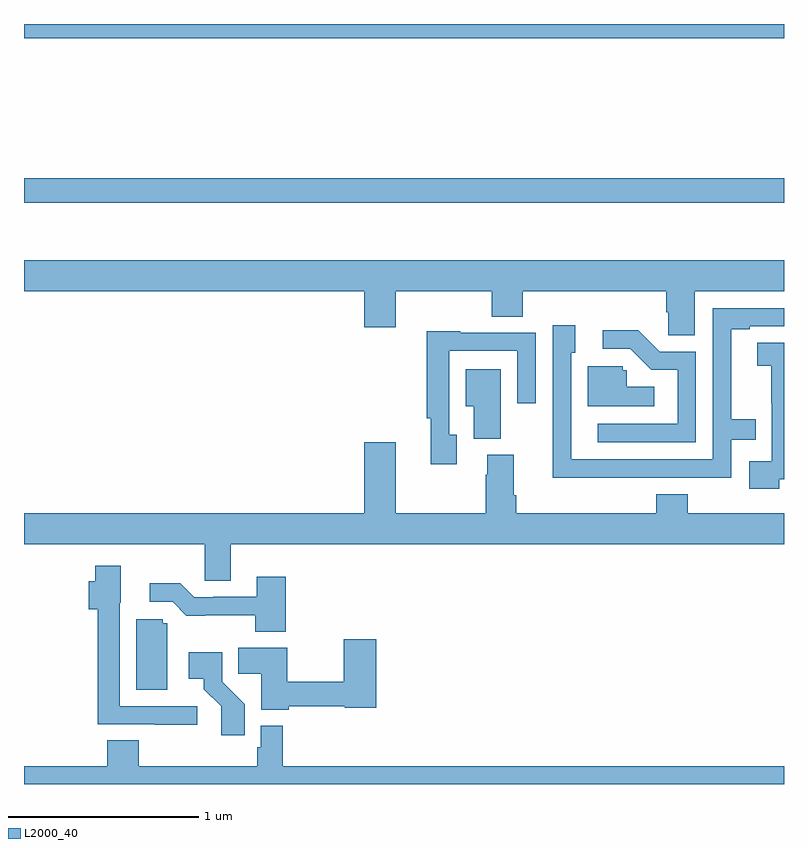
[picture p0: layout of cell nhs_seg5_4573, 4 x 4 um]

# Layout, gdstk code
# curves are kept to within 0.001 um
import gdstk
lib = gdstk.Library(unit=1e-6, precision=1e-09)
def R(c, l, rs):  # rectangles x0, y0, x1, y1
    for r in rs: c.add(gdstk.rectangle(r[:2], r[2:], *l))
def P(c, l, *ps):  # polygons
    for p in ps: c.add(gdstk.Polygon(p, *l))
L2000_40 = (2000, 40)

nhs_seg5_4573 = lib.new_cell('nhs_seg5_4573')
R(nhs_seg5_4573, L2000_40, [(379,891.858,383,891.986), (379,892.724,383,892.799)])
P(nhs_seg5_4573, L2000_40, [(382.531,891.392),(383,891.392),(383,891.556),(379,891.556),(379,891.392),(380.792,891.392),(380.792,891.204),(380.956,891.204),(380.956,891.392),(381.461,891.392),(381.461,891.259),(381.626,891.259),(381.626,891.392),(382.379,891.392),(382.379,891.283),(382.392,891.283),(382.392,891.16),(382.531,891.16)],
  [(382.244,890.412),(382.722,890.412),(382.722,890.61),(382.85,890.61),(382.85,890.719),(382.723,890.719),(382.723,891.192),(382.819,891.192),(382.819,891.207),(383,891.207),(383,891.303),(382.626,891.303),(382.626,890.508),(381.879,890.508),(381.879,891.069),(381.901,891.069),(381.901,891.214),(381.783,891.214),(381.783,890.714),(381.782,890.714),(381.782,890.411),(382.244,890.411)],
  [(382.536,891.075),(382.347,891.075),(382.234,891.188),(382.047,891.188),(382.047,891.09),(382.191,891.09),(382.302,890.979),(382.44,890.979),(382.44,890.694),(382.02,890.694),(382.02,890.598),(382.536,890.598)],
  [(381.277,890.637),(381.237,890.637),(381.237,891.078),(381.597,891.078),(381.597,890.802),(381.693,890.802),(381.693,891.174),(381.297,891.174),(381.297,891.181),(381.121,891.181),(381.121,890.725),(381.14,890.725),(381.14,890.481),(381.277,890.481)],
  [(382.974,890.403),(383,890.403),(383,891.122),(382.86,891.122),(382.86,891.001),(382.934,891.001),(382.934,890.803),(382.935,890.803),(382.935,890.499),(382.818,890.499),(382.818,890.352),(382.974,890.352)],
  [(382.318,890.89),(382.173,890.89),(382.173,890.976),(382.152,890.976),(382.152,890.997),(381.968,890.997),(381.968,890.786),(382.318,890.786)],
  [(381.508,890.983),(381.326,890.983),(381.326,890.786),(381.368,890.786),(381.368,890.617),(381.508,890.617)],
  [(380.089,890.06),(383,890.06),(383,890.224),(382.493,890.224),(382.493,890.323),(382.328,890.323),(382.328,890.224),(381.59,890.224),(381.59,890.32),(381.577,890.32),(381.577,890.532),(381.437,890.532),(381.437,890.426),(381.43,890.426),(381.43,890.224),(380.956,890.224),(380.956,890.599),(380.792,890.599),(380.792,890.224),(379,890.224),(379,890.06),(379.95,890.06),(379.95,889.87),(380.089,889.87)],
  [(379.912,889.209),(379.503,889.209),(379.503,889.752),(379.51,889.752),(379.51,889.948),(379.374,889.948),(379.374,889.866),(379.34,889.866),(379.34,889.718),(379.387,889.718),(379.387,889.113),(379.687,889.113),(379.687,889.111),(379.912,889.111)],
  [(380.378,889.891),(380.225,889.891),(380.225,889.785),(379.996,889.785),(379.996,889.782),(379.896,889.782),(379.823,889.855),(379.662,889.855),(379.662,889.758),(379.782,889.758),(379.855,889.685),(380.218,889.686),(380.218,889.601),(380.378,889.601)],
  [(379.753,889.644),(379.731,889.644),(379.731,889.665),(379.592,889.665),(379.592,889.296),(379.753,889.296)],
  [(380.394,889.209),(380.688,889.209),(380.688,889.201),(380.855,889.201),(380.855,889.561),(380.684,889.561),(380.684,889.337),(380.386,889.337),(380.386,889.516),(380.128,889.516),(380.128,889.378),(380.249,889.378),(380.249,889.19),(380.394,889.19)],
  [(380.162,889.218),(380.043,889.337),(380.043,889.492),(379.866,889.492),(379.866,889.352),(379.946,889.352),(379.946,889.297),(380.037,889.207),(380.037,889.056),(380.162,889.056)],
  [(383,888.892),(380.363,888.892),(380.363,889.105),(380.247,889.105),(380.247,888.993),(380.227,888.993),(380.227,888.892),(379.604,888.892),(379.604,889.028),(379.439,889.028),(379.439,888.892),(379,888.892),(379,888.799),(383,888.799)])

lib.write_gds('nhs_seg5_4573.gds')
